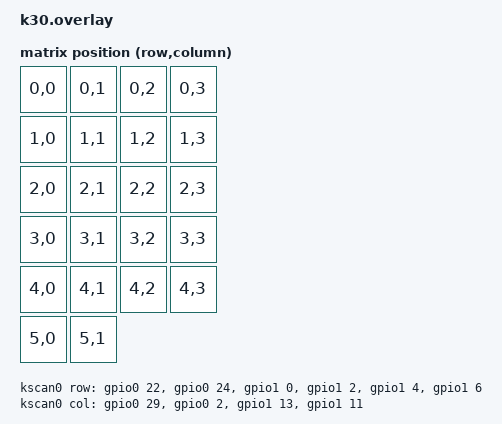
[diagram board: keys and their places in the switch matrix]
/*
 * Copyright (c) 2020 The ZMK Contributors
 *
 * SPDX-License-Identifier: MIT
 */

#include <dt-bindings/zmk/matrix_transform.h>
// 包含 PWM 和 LED 相关的设备树绑定
#include <dt-bindings/pwm/pwm.h>
#include <dt-bindings/gpio/gpio.h>

/ {
    chosen {
        zmk,kscan = &kscan0;
        zmk,matrix_transform = &default_transform;
        // 指定 ZMK 使用的背光设备
        zmk,backlight = &my_backlight;
    };

    // 定义 GPIO PWM 控制器节点
    gpiopwm: pwmleds {
        compatible = "pwm-gpio";
        #pwm-cells = <2>; // 标准 PWM 单元需要两个单元地址参数 (<channel>, <flags>)

        // 定义红色通道 PWM (连接到 P1.10)
        red_pwm: red_pwm {
            pwms = <&gpiopwm 0 PWM_POLARITY_INVERTED>; // 通道 0, 反相 (因为是共阴)
            gpio = <&gpio1 10 GPIO_ACTIVE_HIGH>; // P1.10, 高电平有效
        };

        // 定义绿色通道 PWM (连接到 P0.3)
        green_pwm: green_pwm {
            pwms = <&gpiopwm 1 PWM_POLARITY_INVERTED>; // 通道 1, 反相
            gpio = <&gpio0 3 GPIO_ACTIVE_HIGH>; // P0.3, 高电平有效
        };

        // 定义蓝色通道 PWM (连接到 P0.28)
        blue_pwm: blue_pwm {
            pwms = <&gpiopwm 2 PWM_POLARITY_INVERTED>; // 通道 2, 反相
            gpio = <&gpio0 28 GPIO_ACTIVE_HIGH>; // P0.28, 高电平有效
        };
    };

    // 定义 PWM LED 设备
    pwmleds {
        compatible = "pwm-leds";

        // 定义一个名为 backlight_led 的 LED
        backlight_led: led_0 {
            label = "backlight_led"; // LED 标签
            pwms = <&red_pwm 0 PWM_POLARITY_INVERTED>, // 引用红色 PWM 通道
                   <&green_pwm 0 PWM_POLARITY_INVERTED>, // 引用绿色 PWM 通道
                   <&blue_pwm 0 PWM_POLARITY_INVERTED>; // 引用蓝色 PWM 通道
            max-brightness = <255>; // 最大亮度值
            color = <255 255 255>; // 白色光 (RGB 255,255,255) - 这决定了混合的基础色温
        };
    };

    // 定义 ZMK LED 设备
    leds {
        compatible = "zmk,leds";

        // 定义名为 my_backlight 的 ZMK 背光设备
        my_backlight: backlight {
            label = "my_backlight"; // 设备标签
            leds = <&backlight_led>; // 关联之前定义的 PWM LED
            trigger-binding = <&none>; // 默认触发方式，通常由 ZMK 内部管理
            // breathe-period-ms = <3000>; // 可选：设置呼吸效果周期
            // blink-duration-ms = <500>;  // 可选：设置闪烁持续时间
        };
    };

    // --- 保持原有的矩阵扫描配置不变 ---
    default_transform: keymap_transform_0 {
        compatible = "zmk,matrix-transform";
        columns = <4>;
        rows = <6>;
        map = <
            RC(0,0) RC(0,1) RC(0,2) RC(0,3)
            RC(1,0) RC(1,1) RC(1,2) RC(1,3)
            RC(2,0) RC(2,1) RC(2,2) RC(2,3)
            RC(3,0) RC(3,1) RC(3,2) RC(3,3)
            RC(4,0) RC(4,1) RC(4,2) RC(4,3)
            RC(5,0) RC(5,1)
        >;
    };

    kscan0: kscan {
        compatible = "zmk,kscan-gpio-matrix";
        label = "KSCAN";
        wakeup-source;
        diode-direction = "col2row";
        col-gpios
            = <&gpio0 29 GPIO_ACTIVE_HIGH>
            , <&gpio0 2 GPIO_ACTIVE_HIGH>
            , <&gpio1 13 GPIO_ACTIVE_HIGH>
            , <&gpio1 11 GPIO_ACTIVE_HIGH>
            ;
        row-gpios
            = <&gpio0 22 (GPIO_ACTIVE_HIGH | GPIO_PULL_DOWN)>
            , <&gpio0 24 (GPIO_ACTIVE_HIGH | GPIO_PULL_DOWN)>
            , <&gpio1 0 (GPIO_ACTIVE_HIGH | GPIO_PULL_DOWN)>
            , <&gpio1 2 (GPIO_ACTIVE_HIGH | GPIO_PULL_DOWN)>
            , <&gpio1 4 (GPIO_ACTIVE_HIGH | GPIO_PULL_DOWN)>
            , <&gpio1 6 (GPIO_ACTIVE_HIGH | GPIO_PULL_DOWN)>
            ;
    };
};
